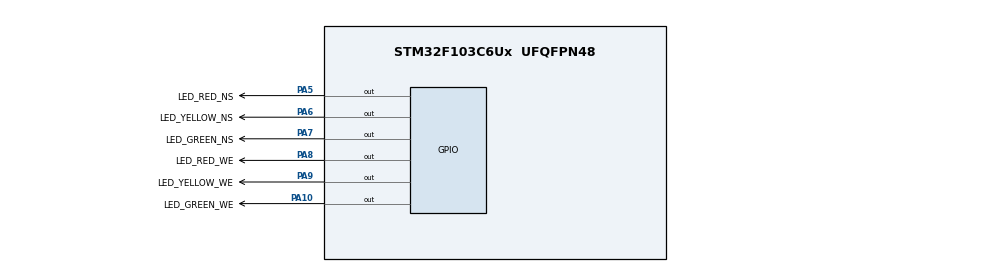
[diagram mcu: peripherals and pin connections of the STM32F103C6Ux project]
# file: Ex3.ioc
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Mcu.Family=STM32F1
Mcu.Name=STM32F103C6Ux
Mcu.Package=UFQFPN48
NVIC.PriorityGroup=NVIC_PRIORITYGROUP_4
PA10.GPIO_Label=LED_GREEN_WE
PA10.Signal=GPIO_Output
PA5.GPIO_Label=LED_RED_NS
PA5.Signal=GPIO_Output
PA6.GPIO_Label=LED_YELLOW_NS
PA6.Signal=GPIO_Output
PA7.GPIO_Label=LED_GREEN_NS
PA7.Signal=GPIO_Output
PA8.GPIO_Label=LED_RED_WE
PA8.Signal=GPIO_Output
PA9.GPIO_Label=LED_YELLOW_WE
PA9.Signal=GPIO_Output
ProjectManager.HeapSize=0x200
ProjectManager.StackSize=0x400
ProjectManager.TargetToolchain=STM32CubeIDE
RCC.APB1Freq_Value=8000000
RCC.APB2Freq_Value=8000000
VP_SYS_VS_ND.Mode=No_Debug
board=custom

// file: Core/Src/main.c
/* USER CODE BEGIN Header */
/**
  ******************************************************************************
  * @file           : main.c
  * @brief          : Main program body
  ******************************************************************************
  * @attention
  *
  * <h2><center>&copy; Copyright (c) 2024 STMicroelectronics.
  * All rights reserved.</center></h2>
  *
  * This software component is licensed by ST under BSD 3-Clause license,
  * the "License"; You may not use this file except in compliance with the
  * License. You may obtain a copy of the License at:
  *                        opensource.org/licenses/BSD-3-Clause
  *
  ******************************************************************************
  */
/* USER CODE END Header */
#include "main.h"

void SystemClock_Config(void);
static void MX_GPIO_Init(void);

int main(void)
{

  /* MCU Configuration--------------------------------------------------------*/

  /* Reset of all peripherals, Initializes the Flash interface and the Systick. */
  HAL_Init();

  /* Configure the system clock */
  SystemClock_Config();

  /* Initialize all configured peripherals */
  MX_GPIO_Init();

  /* Infinite loop */
  /* USER CODE BEGIN WHILE */
  int Time = 3;
  int State = 0;
  while (1)
  {
	  Time -= 1;
	  switch(State){
	  case 0: // NS: RED ON AND WE: GREEN ON 3S
		  HAL_GPIO_WritePin(LED_RED_NS_GPIO_Port, LED_RED_NS_Pin, GPIO_PIN_RESET);
		  HAL_GPIO_WritePin(LED_YELLOW_NS_GPIO_Port, LED_YELLOW_NS_Pin, GPIO_PIN_SET);
		  HAL_GPIO_WritePin(LED_GREEN_NS_GPIO_Port, LED_GREEN_NS_Pin, GPIO_PIN_SET);

		  HAL_GPIO_WritePin(LED_RED_WE_GPIO_Port, LED_RED_WE_Pin, GPIO_PIN_SET);
		  HAL_GPIO_WritePin(LED_YELLOW_WE_GPIO_Port, LED_YELLOW_WE_Pin, GPIO_PIN_SET);
		  HAL_GPIO_WritePin(LED_GREEN_WE_GPIO_Port, LED_GREEN_WE_Pin, GPIO_PIN_RESET);

		  if (Time <= 0){
			  Time = 2;
			  State = 1;
		  }
		  break;
	  case 1: // WE: RED ON AND NS: YELLOW ON 2S
		  HAL_GPIO_WritePin(LED_RED_NS_GPIO_Port, LED_RED_NS_Pin, GPIO_PIN_RESET);
		  HAL_GPIO_WritePin(LED_YELLOW_NS_GPIO_Port, LED_YELLOW_NS_Pin, GPIO_PIN_SET);
		  HAL_GPIO_WritePin(LED_GREEN_NS_GPIO_Port, LED_GREEN_NS_Pin, GPIO_PIN_SET);

		  HAL_GPIO_WritePin(LED_RED_WE_GPIO_Port, LED_RED_WE_Pin, GPIO_PIN_SET);
		  HAL_GPIO_WritePin(LED_YELLOW_WE_GPIO_Port, LED_YELLOW_WE_Pin, GPIO_PIN_RESET);
		  HAL_GPIO_WritePin(LED_GREEN_WE_GPIO_Port, LED_GREEN_WE_Pin, GPIO_PIN_SET);

		  if (Time <= 0){
			  Time = 3;
			  State = 2;
		  }
		  break;
	  case 2:
		  HAL_GPIO_WritePin(LED_RED_WE_GPIO_Port, LED_RED_WE_Pin, GPIO_PIN_RESET);
		  HAL_GPIO_WritePin(LED_YELLOW_WE_GPIO_Port, LED_YELLOW_WE_Pin, GPIO_PIN_SET);
		  HAL_GPIO_WritePin(LED_GREEN_WE_GPIO_Port, LED_GREEN_WE_Pin, GPIO_PIN_SET);

		  HAL_GPIO_WritePin(LED_RED_NS_GPIO_Port, LED_RED_NS_Pin, GPIO_PIN_SET);
		  HAL_GPIO_WritePin(LED_YELLOW_NS_GPIO_Port, LED_YELLOW_NS_Pin, GPIO_PIN_SET);
		  HAL_GPIO_WritePin(LED_GREEN_NS_GPIO_Port, LED_GREEN_NS_Pin, GPIO_PIN_RESET);

		  if (Time <= 0){
			  Time = 2;
			  State = 3;
		  }
		  break;
	  case 3: // WE: RED ON AND NS: YELLOW ON
		  HAL_GPIO_WritePin(LED_RED_WE_GPIO_Port, LED_RED_WE_Pin, GPIO_PIN_RESET);
		  HAL_GPIO_WritePin(LED_YELLOW_WE_GPIO_Port, LED_YELLOW_WE_Pin, GPIO_PIN_SET);
		  HAL_GPIO_WritePin(LED_GREEN_WE_GPIO_Port, LED_GREEN_WE_Pin, GPIO_PIN_SET);

		  HAL_GPIO_WritePin(LED_RED_NS_GPIO_Port, LED_RED_NS_Pin, GPIO_PIN_SET);
		  HAL_GPIO_WritePin(LED_YELLOW_NS_GPIO_Port, LED_YELLOW_NS_Pin, GPIO_PIN_RESET);
		  HAL_GPIO_WritePin(LED_GREEN_NS_GPIO_Port, LED_GREEN_NS_Pin, GPIO_PIN_SET);

		  if (Time <= 0){
			  Time = 3;
			  State = 0;
		  }
		  break;
	  }
	  HAL_Delay(1000);
    /* USER CODE END WHILE */

  }
}

void SystemClock_Config(void)
{
  RCC_OscInitTypeDef RCC_OscInitStruct = {0};
  RCC_ClkInitTypeDef RCC_ClkInitStruct = {0};

  /** Initializes the RCC Oscillators according to the specified parameters
  * in the RCC_OscInitTypeDef structure.
  */
  RCC_OscInitStruct.OscillatorType = RCC_OSCILLATORTYPE_HSI;
  RCC_OscInitStruct.HSIState = RCC_HSI_ON;
  RCC_OscInitStruct.HSICalibrationValue = RCC_HSICALIBRATION_DEFAULT;
  RCC_OscInitStruct.PLL.PLLState = RCC_PLL_NONE;
  if (HAL_RCC_OscConfig(&RCC_OscInitStruct) != HAL_OK)
  {
    Error_Handler();
  }
  /** Initializes the CPU, AHB and APB buses clocks
  */
  RCC_ClkInitStruct.ClockType = RCC_CLOCKTYPE_HCLK|RCC_CLOCKTYPE_SYSCLK
                              |RCC_CLOCKTYPE_PCLK1|RCC_CLOCKTYPE_PCLK2;
  RCC_ClkInitStruct.SYSCLKSource = RCC_SYSCLKSOURCE_HSI;
  RCC_ClkInitStruct.AHBCLKDivider = RCC_SYSCLK_DIV1;
  RCC_ClkInitStruct.APB1CLKDivider = RCC_HCLK_DIV1;
  RCC_ClkInitStruct.APB2CLKDivider = RCC_HCLK_DIV1;

  if (HAL_RCC_ClockConfig(&RCC_ClkInitStruct, FLASH_LATENCY_0) != HAL_OK)
  {
    Error_Handler();
  }
}

static void MX_GPIO_Init(void)
{
  GPIO_InitTypeDef GPIO_InitStruct = {0};

  /* GPIO Ports Clock Enable */
  __HAL_RCC_GPIOA_CLK_ENABLE();

  /*Configure GPIO pin Output Level */
  HAL_GPIO_WritePin(GPIOA, LED_RED_NS_Pin|LED_YELLOW_NS_Pin|LED_GREEN_NS_Pin|LED_RED_WE_Pin
                          |LED_YELLOW_WE_Pin|LED_GREEN_WE_Pin, GPIO_PIN_RESET);

  /*Configure GPIO pins : LED_RED_NS_Pin LED_YELLOW_NS_Pin LED_GREEN_NS_Pin LED_RED_WE_Pin
                           LED_YELLOW_WE_Pin LED_GREEN_WE_Pin */
  GPIO_InitStruct.Pin = LED_RED_NS_Pin|LED_YELLOW_NS_Pin|LED_GREEN_NS_Pin|LED_RED_WE_Pin
                          |LED_YELLOW_WE_Pin|LED_GREEN_WE_Pin;
  GPIO_InitStruct.Mode = GPIO_MODE_OUTPUT_PP;
  GPIO_InitStruct.Pull = GPIO_NOPULL;
  GPIO_InitStruct.Speed = GPIO_SPEED_FREQ_LOW;
  HAL_GPIO_Init(GPIOA, &GPIO_InitStruct);

}

void Error_Handler(void)
{
  __disable_irq();
  while (1)
  {
  }
}

/************************ (C) COPYRIGHT STMicroelectronics *****END OF FILE****/
